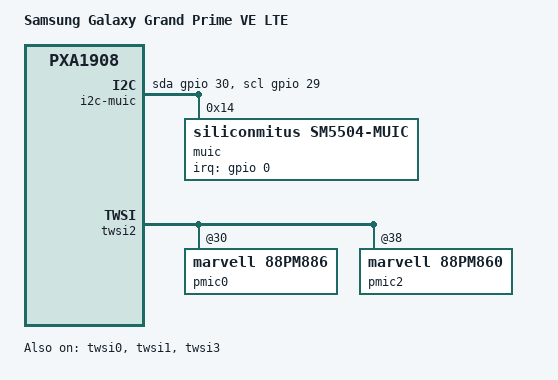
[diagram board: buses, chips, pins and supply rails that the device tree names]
// SPDX-License-Identifier: GPL-2.0-only
/*
 * Copyright (c) 2023, David Wronek <davidwronek@gmail.com>
 */

/dts-v1/;
#include "pxa1908.dtsi"

/ {
	model = "Samsung Galaxy Grand Prime VE LTE";
	compatible = "samsung,coreprimevelte", "marvell,pxa1908";

	pxa,rev-id = <3929 1>;


	chosen {
		#address-cells = <2>;
		#size-cells = <2>;
		ranges;

		framebuffer@a080000 {
			compatible = "simple-framebuffer";
			reg = <0x0 0xa080000 0x0 (540 * 960 * 4)>;
			width = <540>;
			height = <960>;
			stride = <(540 * 4)>;
			format = "a8r8g8b8";
		};
	};

	/* Bootloader fills this in */
	memory {
		device_type = "memory";
		reg = <0x0 0x0 0x0 0x0>;
	};

	reserved-memory {
		#address-cells = <2>;
		#size-cells = <2>;
		ranges;

		cp@5000000 {
			reg = <0x0 0x5000000 0x0 0x3000000>;
		};

		gpu@9000000 {
			reg = <0x0 0x9000000 0x0 0x1000000>;
		};

		cm3@a000000 {
			reg = <0 0xa000000 0 0x80000>;
		};

		framebuffer@a080000 {
			reg = <0x0 0xa080000 0x0 (540 * 960 * 4)>;
			no-map;
		};
	};

	i2c-muic {
		compatible = "i2c-gpio";
		sda-gpios = <&gpio 30 (GPIO_ACTIVE_HIGH|GPIO_OPEN_DRAIN)>;
		scl-gpios = <&gpio 29 (GPIO_ACTIVE_HIGH|GPIO_OPEN_DRAIN)>;
		i2c-gpio,delay-us = <3>;
		i2c-gpio,timeout-ms = <100>;
		#address-cells = <1>;
		#size-cells = <0>;
		pinctrl-names = "default";
		pinctrl-0 = <&i2c_muic_pins>;

		muic: extcon@14 {
			compatible = "siliconmitus,sm5504-muic";
			reg = <0x14>;
			interrupt-parent = <&gpio>;
			interrupts = <0 IRQ_TYPE_EDGE_FALLING>;
		};
	};
}

&twsi0 {
	status = "okay";
};

&twsi1 {
	status = "okay";
};

&twsi2 {
	status = "okay";
	pmic0: 88pm886@30 {
		compatible = "marvell,88pm886";
		reg = <0x30>;
		interrupts = <0 4 IRQ_TYPE_LEVEL_HIGH>;
		interrupt-parent = <&gic>;
		interrupt-controller;
		#interrupt-cells = <1>;

		marvell,88pm88x-irq-write-clear;

		onkey {
			marvell,pm88x-onkey-gpio-number = <0>;
		};

		vbus {
			gpadc-number = <1>;
		};

		battery {
			bat-software-battery-detection;
			/* bat-ntc-support; */
			bat-ntc-support;
			gpadc-det-no = <2>;
			gpadc-temp-no = <3>;
		};
	};

	pmic2: 88pm860@38 {
		compatible = "marvell,88pm860";
		reg = <0x38>;
		marvell,pmic-type = <1>;

		pm860_codec: pm860_codec {
			compatible = "marvell,88pm860-codec";
			#dailink-cells = <1>;
		};
	};
};

&twsi3 {
	status = "okay";
};

&usb {
	extcon = <&muic>, <&muic>;
};

&pmx {
	pinctrl-single,gpio-range = <&range 55 55 0>,
				    <&range 110 32 0>,
				    <&range 52 1 0>;

	pinctrl-names = "default";
	pinctrl-0 = <&board_pins_1 &board_pins_2 &board_pins_3>;

	board_pins_1: pinmux-board-1 {
		pinctrl-single,pins = <
			0x160 0
			0x164 0
			0x168 0
			0x16c 0
		>;
		pinctrl-single,drive-strength = <0x1000 0x1800>;
		pinctrl-single,bias-pullup = <0x8000 0x8000 0 0xc000>;
		pinctrl-single,bias-pulldown = <0x8000 0x8000 0 0xa000>;
		pinctrl-single,input-schmitt = <0 0x30>;
		pinctrl-single,input-schmitt-enable = <0x40 0 0x40 0x40>;
		pinctrl-single,low-power-mode = <0x288 0x388>;
	};

	board_pins_2: pinmux-board-2 {
		pinctrl-single,pins = <
			0x44 1
			0x48 1
			0x20 1
			0x18 1
			0x14 1
			0x10 1
			0xc 1
			0x8 1
			0x68 1
			0x58 0
			0x54 0
			0x7c 0
			0x6c 0
			0x70 0
			0x4c 1
			0x50 1
			0xac 0
			0x90 0
			0x8c 0
			0x88 0
			0x84 0
			0xc8 0
			0x128 0
			0x190 0
			0x194 0
			0x1a0 0
			0x114 0
			0x118 0
			0x1d8 0
			0x1e4 0
			0xe8 0
			0x100 0
			0x204 0
			0x210 0
			0x218 0
		>;
		pinctrl-single,bias-pullup = <0xc000 0xc000 0 0xc000>;
		pinctrl-single,bias-pulldown = <0x8000 0xa000 0x8000 0xc000>;
		pinctrl-single,low-power-mode = <0x288 0x388>;
	};

	board_pins_3: pinmux-board-3 {
		pinctrl-single,pins = <
			0x260 0
			0x264 0
			0x268 0
			0x26c 0
			0x270 0
			0x274 0
			0x78 0
			0x74 0
			0xb0 1
		>;
		pinctrl-single,drive-strength = <0x1000 0x1800>;
		pinctrl-single,bias-pullup = <0 0xc000 0 0xc000>;
		pinctrl-single,bias-pulldown = <0 0xa000 0 0xa000>;
		pinctrl-single,input-schmitt = <0 0x30>;
		pinctrl-single,input-schmitt-enable = <0x40 0 0x40 0x40>;
		pinctrl-single,low-power-mode = <0 0x388>;
	};

	i2c_muic_pins: pinmux-i2c-muic {
		pinctrl-single,pins = <
			0x154 0
			0x150 0
		>;
		pinctrl-single,drive-strength = <0x1000 0x1800>;
		pinctrl-single,bias-pullup = <0 0xc000 0 0xc000>;
		pinctrl-single,bias-pulldown = <0 0xa000 0 0xa000>;
		pinctrl-single,input-schmitt = <0 0x30>;
		pinctrl-single,input-schmitt-enable = <0x40 0 0x40 0x40>;
		pinctrl-single,low-power-mode = <0x288 0x388>;
	};
};

#include "88pm886.dtsi"
#include "88pm88x.dtsi"
